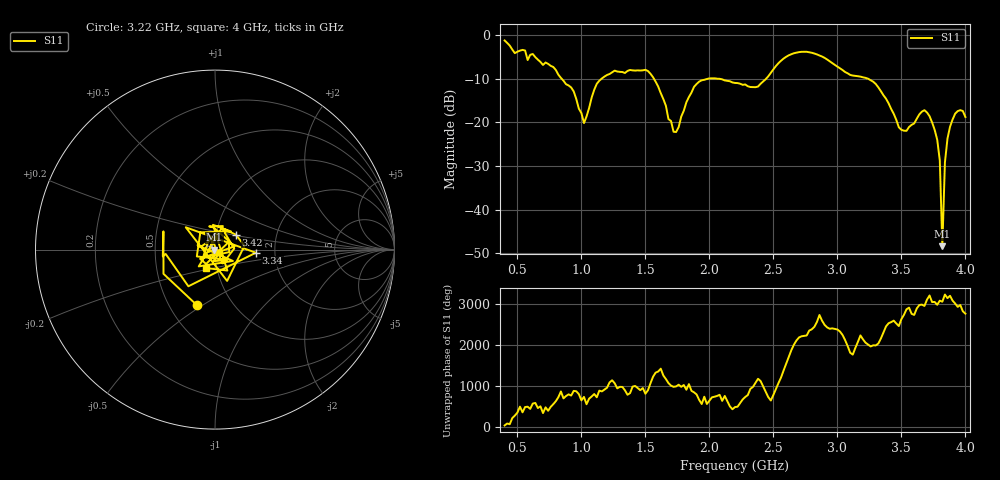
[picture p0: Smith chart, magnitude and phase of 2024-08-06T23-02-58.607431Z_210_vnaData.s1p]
!Created with skrf (http://scikit-rf.org).
# Hz S RI R 50.0
!freq ReS11 ImS11
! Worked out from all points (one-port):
!   181 points, 400 MHz to 4 GHz, reference 50 ohm
!   lowest |S11| = -48.4 dB at 3.82 GHz (marker M1), VSWR 1.01, Z = 49.6 + j0.032 ohm
!   |S11| at or under -10 dB: 1.567 GHz to 1.985 GHz (418.4 MHz wide, 23.6 % of centre); 2.082 GHz to 2.442 GHz (360.5 MHz wide, 15.9 % of centre); 3.241 GHz to end of sweep (the widest 3 of 4)
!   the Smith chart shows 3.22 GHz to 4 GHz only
!   S11 on the Smith chart (normalised r, x): 3.22 GHz: 0.68, -0.47; 3.34 GHz: 1.59, -0.06; 3.42 GHz: 1.24, +0.21; 4 GHz: 0.88, -0.18
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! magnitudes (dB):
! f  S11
! 400 MHz  -1.2
! 860 MHz  -10.4
! 940 MHz  -12.9
! 1.02 GHz  -20.1
! 1.12 GHz  -11.1
! 1.3 GHz  -8.4
! 1.52 GHz  -8.2
! 1.6 GHz  -11.8
! 1.72 GHz  -22.1
! 1.76 GHz  -21.1
! 1.92 GHz  -10.6
! 2.2 GHz  -10.9
! 2.38 GHz  -11.8
! 2.66 GHz  -4.1
! 3.1 GHz  -9.1
! 3.22 GHz  -9.8
! 3.34 GHz  -12.8
! 3.42 GHz  -16.9
! 3.48 GHz  -21.1
! 3.56 GHz  -21.0
! 3.68 GHz  -17.2
! 3.76 GHz  -21.7
! 3.8 GHz  -28.7
! 3.82 GHz  -48.4
! 3.84 GHz  -29.2
! 3.86 GHz  -23.7
! 3.92 GHz  -18.0
! 4 GHz  -18.8
